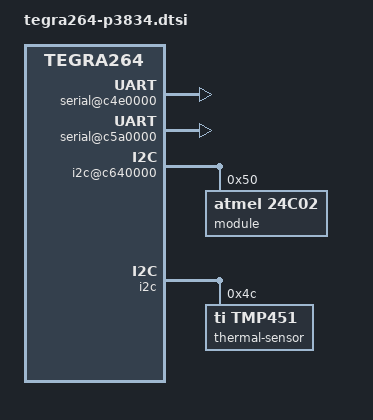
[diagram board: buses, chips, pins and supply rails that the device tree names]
// SPDX-License-Identifier: GPL-2.0-only OR BSD-2-Clause

#include "tegra264.dtsi"

/ {
	compatible = "nvidia,p3834", "nvidia,tegra264";

	aliases {
	};

	bus@0 {
		dma-controller@8400000 {
			status = "okay";
		};

		serial@c4e0000 {
			status = "okay";
		};

		serial@c5a0000 {
			status = "okay";
		};
	};

	bus@8100000000 {
		iommu@5000000 {
			status = "okay";
		};

		cmdqv@5200000 {
			status = "okay";
		};

		iommu@6000000 {
			status = "okay";
		};

		cmdqv@6200000 {
			status = "okay";
		};

		i2c@c640000 {
			status = "okay";

			eeprom@50 {
				compatible = "atmel,24c02";
				reg = <0x50>;
				label = "module";
				address-width = <8>;
				pagesize = <8>;
				size = <256>;
				read-only;
			};
		};
	};

	bpmp {
		i2c {
			status = "okay";

			thermal-sensor@4c {
				compatible = "ti,tmp451";
				reg = <0x4c>;
			};
		};
	};

	thermal-zones {
		cpu-thermal {
			polling-delay-passive = <40>;
			polling-delay = <1000>;
			status = "okay";
		};

		gpu-thermal {
			polling-delay-passive = <40>;
			polling-delay = <1000>;
			status = "okay";
		};

		soc012-thermal {
			polling-delay-passive = <40>;
			polling-delay = <1000>;
			status = "okay";
		};

		soc345-thermal {
			polling-delay-passive = <40>;
			polling-delay = <1000>;
			status = "okay";
		};

		tj-thermal {
			polling-delay-passive = <40>;
			polling-delay = <1000>;
			status = "okay";
		};
	};
};
